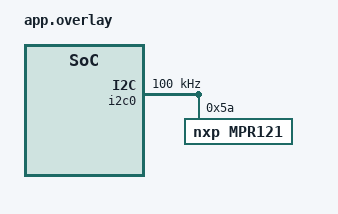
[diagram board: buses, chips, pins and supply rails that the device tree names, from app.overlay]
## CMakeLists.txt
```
# SPDX-License-Identifier: Apache-2.0

cmake_minimum_required(VERSION 3.20.0)

set(BOARD_ROOT ${CMAKE_CURRENT_LIST_DIR})
set(BOARD nice_nano)

find_package(Zephyr REQUIRED HINTS $ENV{ZEPHYR_BASE})
project(my_zephyr_app)

target_sources(app PRIVATE src/main.c)
```

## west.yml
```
# Copyright (c) 2021 Nordic Semiconductor ASA
# SPDX-License-Identifier: Apache-2.0

manifest:
  self:
    west-commands: scripts/west-commands.yml

  remotes:
    - name: zephyrproject-rtos
      url-base: https://github.com/zephyrproject-rtos

  projects:
    - name: zephyr
      remote: zephyrproject-rtos
      revision: v4.1.0
      clone-depth: 1
      import:
        name-blocklist:
          - ci-tools
          - hal_altera
          - hal_cypress
          - hal_infineon
          - hal_microchip
          - hal_nxp
          - hal_openisa
          - hal_xtensa
          - hal_st
          - hal_ti
          - loramac-node
          - mcuboot
          - mcumgr
          - net-tools
          - openthread
          - edtt
          - trusted-firmware-m
  group-filter: [+optional]
```

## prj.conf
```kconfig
CONFIG_APPLICATION_DEFINED_SYSCALL=y

CONFIG_USB_DEVICE_STACK=y
CONFIG_USB_CDC_ACM=y

CONFIG_USB_DEVICE_VID=0x1234
CONFIG_USB_DEVICE_PID=0x5678
```

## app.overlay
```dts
/* SPDX-License-Identifier: Apache-2.0 */

&i2c0 {
	status = "okay";
	clock-frequency = <I2C_BITRATE_STANDARD>;

	mpr121:mpr121@5a {
		compatible = "nxp,mpr121";
		reg = <0x5a>;
	};
};
```

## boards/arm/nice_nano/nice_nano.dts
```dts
/*
 * Copyright (c) 2021 The ZMK Contributors
 *
 * SPDX-License-Identifier: MIT
 */

/dts-v1/;
#include <nordic/nrf52840_qiaa.dtsi>
#include <nordic/nrf52840_partition.dtsi>
#include "nice_nano-pinctrl.dtsi"

/ {
	model = "nice!nano";
	compatible = "nice,nano";

	chosen {
		zephyr,console = &cdc_acm_uart;
		zephyr,shell-uart = &cdc_acm_uart;
	};

	leds {
		compatible = "gpio-leds";
		blue_led: led_0 {
			gpios = <&gpio0 15 GPIO_ACTIVE_HIGH>;
		};
	};
};

&adc {
	status = "okay";
};

&gpiote {
	status = "okay";
};

&gpio0 {
	status = "okay";
};

&gpio1 {
	status = "okay";
};

&i2c0 {
	status = "okay";

	compatible = "nordic,nrf-twi";
	pinctrl-0 = <&i2c0_default>;
	pinctrl-1 = <&i2c0_sleep>;
	pinctrl-names = "default", "sleep";
};

&spi1 {
	compatible = "nordic,nrf-spim";
	pinctrl-0 = <&spi1_default>;
	pinctrl-1 = <&spi1_sleep>;
	pinctrl-names = "default", "sleep";
};

&uart0 {
	compatible = "nordic,nrf-uarte";
	current-speed = <115200>;
	pinctrl-0 = <&uart0_default>;
	pinctrl-1 = <&uart0_sleep>;
	pinctrl-names = "default", "sleep";
};

zephyr_udc0: &usbd {
	compatible = "nordic,nrf-usbd";
	status = "okay";

	cdc_acm_uart: cdc_acm_uart {
		compatible = "zephyr,cdc-acm-uart";
	};
};

&reg0 {
	status = "okay";
};

&reg1 {
	regulator-initial-mode = <NRF5X_REG_MODE_DCDC>;
};
```

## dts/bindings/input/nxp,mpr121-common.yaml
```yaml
# Copyright (c) 2021 Nordic Semiconductor ASA
# SPDX-License-Identifier: Apache-2.0

description: |
  An integration for the NXP MPR121 capacitive touch sensor.

compatible: "nxp,mpr121"

include: i2c-device.yaml
```

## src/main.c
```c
#include <zephyr/kernel.h>
#include <zephyr/logging/log.h>

LOG_MODULE_REGISTER(main, LOG_LEVEL_INF);

int main(void)
{
	while (1)
	{
		k_sleep(K_SECONDS(1));
	}
	return 0;
}
```
